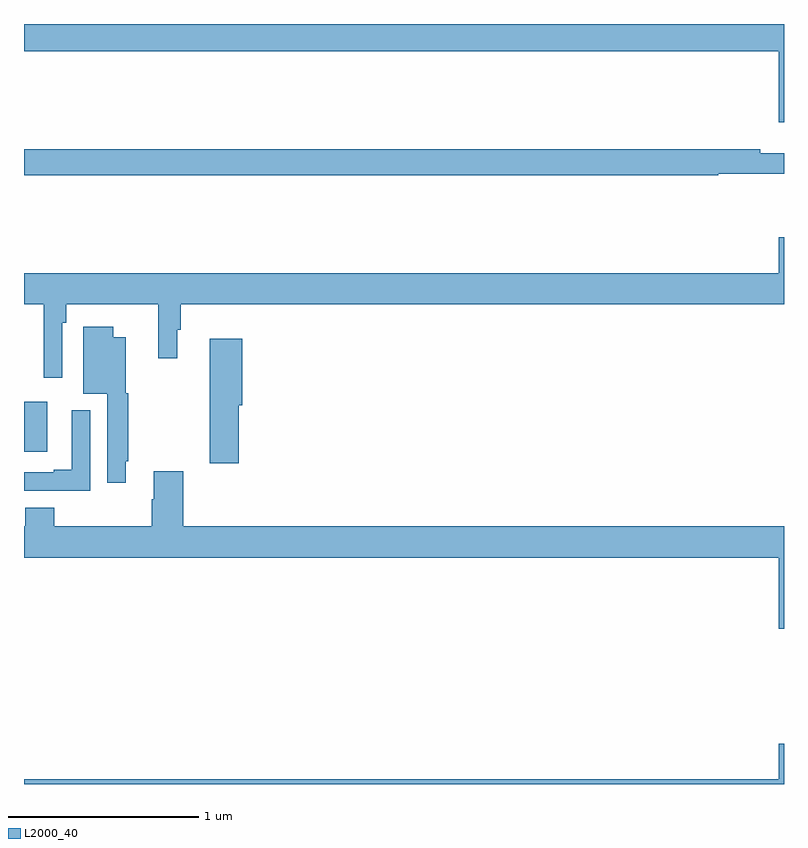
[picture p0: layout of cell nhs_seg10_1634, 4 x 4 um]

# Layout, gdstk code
import gdstk
lib = gdstk.Library(unit=1e-6, precision=1e-09)
def R(c, l, rs):  # rectangles x0, y0, x1, y1
    for r in rs: c.add(gdstk.rectangle(r[:2], r[2:], *l))
def P(c, l, *ps):  # polygons
    for p in ps: c.add(gdstk.Polygon(p, *l))
L2000_40 = (2000, 40)

nhs_seg10_1634 = lib.new_cell('nhs_seg10_1634')
R(nhs_seg10_1634, L2000_40, [(197,1258.25,197.122,1258.513)])
P(nhs_seg10_1634, L2000_40, [(201,1260.5),(197,1260.5),(197,1260.356),(200.972,1260.356),(200.972,1259.982),(201,1259.982)],
  [(200.655,1259.712),(201,1259.712),(201,1259.821),(200.876,1259.821),(200.876,1259.84),(197,1259.84),(197,1259.704),(200.655,1259.704)],
  [(197.202,1258.928),(197.222,1258.928),(197.222,1259.024),(197.707,1259.024),(197.707,1258.74),(197.806,1258.74),(197.806,1258.89),(197.825,1258.89),(197.825,1259.024),(201,1259.024),(201,1259.377),(200.972,1259.377),(200.972,1259.188),(197,1259.188),(197,1259.024),(197.105,1259.024),(197.105,1258.638),(197.202,1258.638)],
  [(197.536,1258.198),(197.548,1258.198),(197.548,1258.557),(197.536,1258.557),(197.536,1258.852),(197.47,1258.852),(197.47,1258.906),(197.312,1258.906),(197.312,1258.553),(197.439,1258.553),(197.439,1258.086),(197.536,1258.086)],
  [(198.131,1258.494),(198.149,1258.494),(198.149,1258.843),(197.978,1258.843),(197.978,1258.494),(197.977,1258.494),(197.977,1258.188),(198.131,1258.188)],
  [(197.349,1258.468),(197.252,1258.468),(197.252,1258.153),(197.156,1258.153),(197.156,1258.14),(197,1258.14),(197,1258.044),(197.349,1258.044)],
  [(201,1257.856),(197.837,1257.856),(197.837,1258.147),(197.684,1258.147),(197.684,1257.998),(197.672,1257.998),(197.672,1257.856),(197.159,1257.856),(197.159,1257.954),(197.007,1257.954),(197.007,1257.856),(197,1257.856),(197,1257.692),(200.972,1257.692),(200.972,1257.318),(201,1257.318)],
  [(201,1256.713),(200.972,1256.713),(200.972,1256.524),(197,1256.524),(197,1256.5),(201,1256.5)])

lib.write_gds('nhs_seg10_1634.gds')
